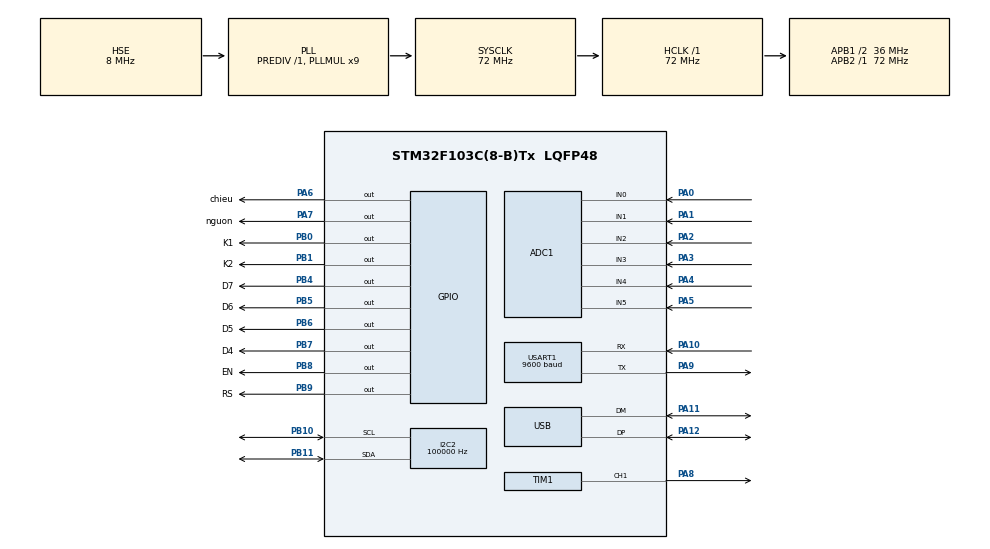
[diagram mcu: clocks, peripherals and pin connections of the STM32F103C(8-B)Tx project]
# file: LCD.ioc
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ADC1.Channel-0\#ChannelRegularConversion=ADC_CHANNEL_0
ADC1.Channel-1\#ChannelRegularConversion=ADC_CHANNEL_1
ADC1.Channel-2\#ChannelRegularConversion=ADC_CHANNEL_2
ADC1.Channel-3\#ChannelRegularConversion=ADC_CHANNEL_3
ADC1.Channel-4\#ChannelRegularConversion=ADC_CHANNEL_4
ADC1.Channel-5\#ChannelRegularConversion=ADC_CHANNEL_5
ADC1.ContinuousConvMode=ENABLE
ADC1.InjNumberOfConversion=0
ADC1.NbrOfConversion=6
ADC1.NbrOfConversionFlag=1
ADC1.Rank-0\#ChannelRegularConversion=1
ADC1.Rank-1\#ChannelRegularConversion=2
ADC1.Rank-2\#ChannelRegularConversion=3
ADC1.Rank-3\#ChannelRegularConversion=4
ADC1.Rank-4\#ChannelRegularConversion=5
ADC1.Rank-5\#ChannelRegularConversion=6
ADC1.SamplingTime-0\#ChannelRegularConversion=ADC_SAMPLETIME_1CYCLE_5
ADC1.SamplingTime-1\#ChannelRegularConversion=ADC_SAMPLETIME_1CYCLE_5
ADC1.SamplingTime-2\#ChannelRegularConversion=ADC_SAMPLETIME_1CYCLE_5
ADC1.SamplingTime-3\#ChannelRegularConversion=ADC_SAMPLETIME_1CYCLE_5
ADC1.SamplingTime-4\#ChannelRegularConversion=ADC_SAMPLETIME_1CYCLE_5
ADC1.SamplingTime-5\#ChannelRegularConversion=ADC_SAMPLETIME_1CYCLE_5
ADC1.master=1
Dma.ADC1.0.Direction=DMA_PERIPH_TO_MEMORY
Dma.ADC1.0.Instance=DMA1_Channel1
Dma.ADC1.0.MemDataAlignment=DMA_MDATAALIGN_HALFWORD
Dma.ADC1.0.MemInc=DMA_MINC_ENABLE
Dma.ADC1.0.Mode=DMA_CIRCULAR
Dma.ADC1.0.PeriphDataAlignment=DMA_PDATAALIGN_HALFWORD
Dma.ADC1.0.PeriphInc=DMA_PINC_DISABLE
Dma.ADC1.0.Priority=DMA_PRIORITY_HIGH
Dma.Request0=ADC1
Dma.Request1=USART1_RX
Dma.USART1_RX.1.Direction=DMA_PERIPH_TO_MEMORY
Dma.USART1_RX.1.Instance=DMA1_Channel5
Dma.USART1_RX.1.MemDataAlignment=DMA_MDATAALIGN_BYTE
Dma.USART1_RX.1.MemInc=DMA_MINC_ENABLE
Dma.USART1_RX.1.Mode=DMA_CIRCULAR
Dma.USART1_RX.1.PeriphDataAlignment=DMA_PDATAALIGN_BYTE
Dma.USART1_RX.1.PeriphInc=DMA_PINC_DISABLE
Dma.USART1_RX.1.Priority=DMA_PRIORITY_HIGH
I2C2.ClockSpeed=100000
I2C2.I2C_Mode=I2C_Fast
Mcu.Family=STM32F1
Mcu.Name=STM32F103C(8-B)Tx
Mcu.Package=LQFP48
NVIC.DMA1_Channel1_IRQn=true\:0\:0\:false\:false\:true\:false\:true
NVIC.DMA1_Channel5_IRQn=true\:0\:0\:false\:false\:true\:false\:true
NVIC.PriorityGroup=NVIC_PRIORITYGROUP_4
NVIC.USART1_IRQn=true\:0\:0\:false\:false\:true\:true\:true
NVIC.USB_LP_CAN1_RX0_IRQn=true\:0\:0\:false\:false\:true\:false\:true
PA0-WKUP.Signal=ADCx_IN0
PA1.Signal=ADCx_IN1
PA10.Mode=Asynchronous
PA10.Signal=USART1_RX
PA11.Mode=Device
PA11.Signal=USB_DM
PA12.Mode=Device
PA12.Signal=USB_DP
PA13.Mode=Serial_Wire
PA13.Signal=SYS_JTMS-SWDIO
PA14.Mode=Serial_Wire
PA14.Signal=SYS_JTCK-SWCLK
PA2.Signal=ADCx_IN2
PA3.Signal=ADCx_IN3
PA4.Signal=ADCx_IN4
PA5.Signal=ADCx_IN5
PA6.GPIO_Label=chieu
PA6.Signal=GPIO_Output
PA7.GPIO_Label=nguon
PA7.Signal=GPIO_Output
PA8.Signal=S_TIM1_CH1
PA9.Mode=Asynchronous
PA9.Signal=USART1_TX
PB0.GPIO_Label=K1
PB0.Signal=GPIO_Output
PB1.GPIO_Label=K2
PB1.Signal=GPIO_Output
PB10.Mode=I2C
PB10.Signal=I2C2_SCL
PB11.Mode=I2C
PB11.Signal=I2C2_SDA
PB4.GPIO_Label=D7
PB4.Signal=GPIO_Output
PB5.GPIO_Label=D6
PB5.Signal=GPIO_Output
PB6.GPIO_Label=D5
PB6.Signal=GPIO_Output
PB7.GPIO_Label=D4
PB7.Signal=GPIO_Output
PB8.GPIO_Label=EN
PB8.Signal=GPIO_Output
PB9.GPIO_Label=RS
PB9.Signal=GPIO_Output
PC14-OSC32_IN.Mode=LSE-External-Oscillator
PC14-OSC32_IN.Signal=RCC_OSC32_IN
PC15-OSC32_OUT.Mode=LSE-External-Oscillator
PC15-OSC32_OUT.Signal=RCC_OSC32_OUT
PD0-OSC_IN.Mode=HSE-External-Oscillator
PD0-OSC_IN.Signal=RCC_OSC_IN
PD1-OSC_OUT.Mode=HSE-External-Oscillator
PD1-OSC_OUT.Signal=RCC_OSC_OUT
ProjectManager.HeapSize=0x200
ProjectManager.StackSize=0x400
ProjectManager.TargetToolchain=MDK-ARM V5
RCC.ADCPresc=RCC_ADCPCLK2_DIV6
RCC.AHBFreq_Value=72000000
RCC.APB1CLKDivider=RCC_HCLK_DIV2
RCC.APB1Freq_Value=36000000
RCC.APB1TimFreq_Value=72000000
RCC.APB2Freq_Value=72000000
RCC.APB2TimFreq_Value=72000000
RCC.HCLKFreq_Value=72000000
RCC.PLLMUL=RCC_PLL_MUL9
RCC.PLLSourceVirtual=RCC_PLLSOURCE_HSE
RCC.RTCClockSelection=RCC_RTCCLKSOURCE_LSE
RCC.SYSCLKFreq_VALUE=72000000
RCC.SYSCLKSource=RCC_SYSCLKSOURCE_PLLCLK
RCC.USBFreq_Value=48000000
RCC.USBPrescaler=RCC_USBCLKSOURCE_PLL_DIV1_5
RTC.Date=1
RTC.Format=RTC_FORMAT_BIN
RTC.Hours=12
RTC.Minutes=0
RTC.Month=RTC_MONTH_JANUARY
RTC.WeekDay=RTC_WEEKDAY_FRIDAY
RTC.Year=21
SH.ADCx_IN0.0=ADC1_IN0,IN0
SH.ADCx_IN1.0=ADC1_IN1,IN1
SH.ADCx_IN2.0=ADC1_IN2,IN2
SH.ADCx_IN3.0=ADC1_IN3,IN3
SH.ADCx_IN4.0=ADC1_IN4,IN4
SH.ADCx_IN5.0=ADC1_IN5,IN5
SH.S_TIM1_CH1.0=TIM1_CH1,PWM Generation1 CH1
TIM1.Channel-PWM\ Generation1\ CH1=TIM_CHANNEL_1
TIM1.CounterMode=TIM_COUNTERMODE_UP
TIM1.Period=7199
TIM1.Prescaler=9999
USART1.BaudRate=9600
USART1.VirtualMode=VM_ASYNC
USB_DEVICE.CLASS_NAME_FS=CDC
USB_DEVICE.VirtualMode=Cdc
USB_DEVICE.VirtualModeFS=Cdc_FS
VP_RTC_VS_RTC_Activate.Mode=RTC_Enabled
VP_RTC_VS_RTC_Calendar.Mode=RTC_Calendar
VP_TIM1_VS_ClockSourceINT.Mode=Internal
VP_USB_DEVICE_VS_USB_DEVICE_CDC_FS.Mode=CDC_FS
board=custom

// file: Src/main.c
/* USER CODE BEGIN Header */
/**
  ******************************************************************************
  * @file           : main.c
  * @brief          : Main program body
  ******************************************************************************
  * @attention
  *
  * <h2><center>&copy; Copyright (c) 2020 STMicroelectronics.
  * All rights reserved.</center></h2>
  *
  * This software component is licensed by ST under Ultimate Liberty license
  * SLA0044, the "License"; You may not use this file except in compliance with
  * the License. You may obtain a copy of the License at:
  *                             www.st.com/SLA0044
  *
  ******************************************************************************
  */
/* USER CODE END Header */

#include "main.h"
#include "usb_device.h"

ADC_HandleTypeDef hadc1;
DMA_HandleTypeDef hdma_adc1;

extern I2C_HandleTypeDef hi2c2;

RTC_HandleTypeDef hrtc;

TIM_HandleTypeDef htim1;

UART_HandleTypeDef huart1;
DMA_HandleTypeDef hdma_usart1_rx;

void SystemClock_Config(void);
static void MX_GPIO_Init(void);
static void MX_DMA_Init(void);
static void MX_TIM1_Init(void);
static void MX_RTC_Init(void);
static void MX_ADC1_Init(void);
static void MX_I2C2_Init(void);
static void MX_USART1_UART_Init(void);

/* USER CODE BEGIN 0 */
#include "usbd_cdc_if.h"//giao tiep usb
#include <stdio.h>
#include <math.h>
#include <string.h>
#include <stdlib.h>
#include <Kalman.h>
#include "lcd16x2.h"
#include "goc_pin.h"
#include "mpu6050_kalman.h"
#include "mppt.h"
extern char ReceivedData[100];//mang du lieu nhan USB
extern char SendData[100];//mang du lieu gui
extern uint8_t Rxcount;
extern uint32_t dataSize;
extern uint8_t check;//kiem tra nhan data USB
extern uint32_t time;

char receiveuart[100]="",senduart[100]="";//giao tiep uart
uint8_t rxdata='\0',uartbuf[100],rx=0,tx=1,uartcount=0,uartsize=0;

#define K1_Port GPIOB
#define K2_Port GPIOB

#define chieu_Port GPIOA
#define nguon_Port GPIOA
char data[100];//mang du lieu xuat lcd

RTC_TimeTypeDef sTime;
RTC_DateTypeDef DateToUpdate;
uint8_t sec;//bien lay thoi gian thuc
uint8_t min;
uint8_t hour;
uint8_t wday;
uint8_t date;
uint8_t month;
uint8_t year;
//uint16_t c1,c2,c;
uint8_t shour=12,smin=12,ssec=0,sdate=1,smonth=1,syear=21;//bien set thoi gian

float VD=21.033;//vi do
float KD=105.85;//kinh do
extern int n;//so thu tu ngay trong nam
extern int PALT,PATT,TALT,TATT;//PALT, PATT goc cuc ly thuyet,thuc te

//chuong trinh doc cam bien mpu6050
extern Kalman_t kalmanX;//cau truc kalman
extern Kalman_t kalmanY;
extern double accX, accY, accZ;
extern double gyroX, gyroY, gyroZ;
extern int16_t tempRaw;

extern double gyroXangle, gyroYangle; // Angle calculate using the gyro only
extern double compAngleX, compAngleY; // Calculated angle using a complementary filter
extern double kalAngleX, kalAngleY; // Calculated angle using a Kalman filter

// dieu khien xy lanh
int goc_max=165,goc_min=15,tmax=17,tmin=7,PA=90,PAS=90;
//goc_max,goc_min gioi han hanh trinh
//tmax, tmin gioi han thoi gian lam viec
//PA goc cuc can dieu khien PAS goc cuc dat che do tay
float deltaT=1.0,deltaA=3.0,t=-1.0;
//t thoi gian khoi tao ban dau
// deltaT(h) khoang thoi gian dat lai goc PA
// deltaA sai lech goc cho phep
uint8_t mode=0;//che do hoat dong xy lanh
uint8_t m=0;// m=0 che do dieu khien tu dong ,m=1 che do dieu khien tay
void dk_xl()
{
  PATT=kalAngleY+90.0;
  if(m==1) {
		 PA=PAS;
			if(PATT<PA) //quay thuan
		 {
				HAL_GPIO_WritePin(nguon_GPIO_Port,nguon_Pin,1);
				HAL_GPIO_WritePin(chieu_GPIO_Port,chieu_Pin,0);
				mode=1;
		 }
		else if(PATT>(PA+deltaA)) //quay nguoc
		 {
				HAL_GPIO_WritePin(nguon_GPIO_Port,nguon_Pin,1);
				HAL_GPIO_WritePin(chieu_GPIO_Port,chieu_Pin,1);
				mode=2;
		 }
		else if((PATT>=PA)&&(PATT<=(PA+deltaA)))
		 {
				HAL_GPIO_WritePin(nguon_GPIO_Port,nguon_Pin,0);
				HAL_GPIO_WritePin(chieu_GPIO_Port,chieu_Pin,0);
				mode=0;
		 }
		 else {}
	}
	if(m==0){
	 if (((hour+min/60.0)>=tmin)&&((hour+min/60.0)<=tmax))
	 {
			if(fabs(hour+min/60.0-t)>=deltaT)
			{ // dat lai goc quay sau thoi gian deltaT
			goc_pin(year,month,date,hour,min,sec,VD,KD);
			PA=PALT; // dat goc ly thuyet
			t=hour+min/60.0;
			}
			if(PA<goc_min) PA=goc_min;//gioi han goc dat PA
			if(PA>goc_max) PA=goc_max;
		if(PATT<PA) //quay thuan
		 {
				HAL_GPIO_WritePin(nguon_GPIO_Port,nguon_Pin,1);
				HAL_GPIO_WritePin(chieu_GPIO_Port,chieu_Pin,0);
				mode=1;
		 }
		else if(PATT>(PA+deltaA)) //quay nguoc
		 {
				HAL_GPIO_WritePin(nguon_GPIO_Port,nguon_Pin,1);
				HAL_GPIO_WritePin(chieu_GPIO_Port,chieu_Pin,1);
				mode=2;
		 }
		else if((PATT>=PA)&&(PATT<=(PA+deltaA)))//dung
		 {
				HAL_GPIO_WritePin(nguon_GPIO_Port,nguon_Pin,0);
				HAL_GPIO_WritePin(chieu_GPIO_Port,chieu_Pin,0);
				mode=0;
		 }
		 else  {}
	  }
  else if (((hour+min/60.0)>tmax)&&((hour+min/60.0)<=tmax+0.25))
		{
		if(PATT>goc_min){
				HAL_GPIO_WritePin(nguon_GPIO_Port,nguon_Pin,1);
				HAL_GPIO_WritePin(chieu_GPIO_Port,chieu_Pin,1);
				mode=3;
				}
		else{
				HAL_GPIO_WritePin(nguon_GPIO_Port,nguon_Pin,0);
				HAL_GPIO_WritePin(chieu_GPIO_Port,chieu_Pin,0);
				mode=4;
			 }
		}
	else
    {
				HAL_GPIO_WritePin(nguon_GPIO_Port,nguon_Pin,0);
				HAL_GPIO_WritePin(chieu_GPIO_Port,chieu_Pin,0);
			  mode=4;
	  }
	}
}

//do dien ap dong dien
uint16_t adc_data[6];//bien luu gia tri adc
float V_PV,I_PV,V_AQ,I_AQ,I_T;//bien do dong ap
void do_dong_ap()
{
	float adc0=0,adc1=0,adc2=0,adc3=0,adc4=0;
	for (int i=0;i<100;i++) adc0=adc0+adc_data[0];
	adc0=adc0/100.0;
	for (int i=0;i<100;i++) adc1=adc1+adc_data[1];
	adc1=adc1/100.0;
	for (int i=0;i<100;i++) adc2=adc2+adc_data[2];
	adc2=adc2/100.0;
	for (int i=0;i<100;i++) adc3=adc3+adc_data[3];
	adc3=adc3/100.0;
	for (int i=0;i<100;i++) adc4=adc4+adc_data[4];
	adc4=adc4/100.0;
	V_PV=(0.0000003*adc0*adc0+ 0.0003*adc0 + 0.0129)*(100+5.6)/5.6+0.5;
//	I_PV=(adc1*(3.33/4096.0)-2.4)/0.1;
//	V_AQ=(0.0000003*adc2*adc2+ 0.0003*adc2 + 0.0129)*(100+5.6)/5.6-3;
//	I_AQ=(adc3*(3.33/4096.0)-2.4)/0.1;
//	I_T=(adc4*(3.33/4096.0)-2.4)/0.1;

//	V_PV=(-0.000000009*adc0*adc0+ 0.0009*adc0 - 0.0335)*(100+5.6)/5.6;
	I_PV=(-(0.000000002*adc1*adc1+ 0.0008*adc1 + 0.0046)+2.445)/0.1+2;
	V_AQ=(0.000000002*adc2*adc2+ 0.0008*adc2 + 0.0046)*(100+5.6)/5.6-3;
	I_AQ=(-(0.000000002*adc3*adc3+ 0.0008*adc3 + 0.0046)+2.445)/0.1+1;
	I_T=(-(0.000000002*adc4*adc4+ 0.0008*adc4 + 0.0046)+2.445)/0.1+0.1;

//	V_PV=adc_data[0]*2.7/(4095.0);
//	I_PV=(adc_data[1]*(2.7/4095.0)-2.5)/0.1;
//	V_AQ=adc_data[2]*3.4/(4095.0);
//	I_AQ=(adc_data[3]*(3.4/4095.0)-2.5)/0.1;
//	I_T=(adc_data[4]*(3.4/4095.0)-2.5)/0.1;
}

//hien thi LCD
int32_t timedisp1=-2000,timedisp2=-2000;//tg hien thi
void do_tinh_hien_thi()
{
	  HAL_RTC_GetTime(&hrtc, &sTime, RTC_FORMAT_BIN);
    HAL_RTC_GetDate(&hrtc, &DateToUpdate, RTC_FORMAT_BIN);
		uint32_t dateToStore;
		memcpy(&dateToStore,&DateToUpdate,4);
		BKP->DR2 = dateToStore >> 16;
		BKP->DR3 = dateToStore & 0xffff;
    sec=sTime.Seconds;
    min=sTime.Minutes;
    hour=sTime.Hours;
    wday=DateToUpdate.WeekDay;
    date=DateToUpdate.Date;
    month=DateToUpdate.Month;
    year=DateToUpdate.Year;
	if((double)(HAL_GetTick()-timedisp1)/1000.0>=2){//hien thi sau 1s
	  goc_pin(year,month,date,hour,min,sec,VD,KD);
    PATT=kalAngleY+90;
		LCD_Init();
    LCD_Gotoxy(0,0);
		sprintf(data,"%0.2d:%0.2d|%0.3d|%0.3d      ",hour,min,PALT,PATT);
		LCD_Puts(data);
		LCD_Gotoxy(0,1);
		sprintf(data,"%0.2d/%0.2d/%0.2d|%0.3d       ",date,month,year,n);
		LCD_Puts(data);
		if(m==0){LCD_Gotoxy(14,0);LCD_Puts("M0");}//auto
		if(m==1){LCD_Gotoxy(14,0);LCD_Puts("M1");}//manual
		if(mode==0){LCD_Gotoxy(13,1);LCD_Puts("XL0");}//dung
		if(mode==1){LCD_Gotoxy(13,1);LCD_Puts("XL1");}//thuan
		if(mode==2){LCD_Gotoxy(13,1);LCD_Puts("XL2");}//nguoc
		if(mode==3){LCD_Gotoxy(0,1);LCD_Puts("TIME OUT     XL2");}//chi co mode auto
		if(mode==4){LCD_Gotoxy(0,1);LCD_Puts("TIME OUT     XL0");}
		timedisp1=HAL_GetTick();
		}
	if(((double)(HAL_GetTick()-timedisp1)/1000.0>=1)&&(double)(HAL_GetTick()-timedisp2)/1000.0>=2){
		do_dong_ap();
		LCD_Clear();
		sprintf(data,"%2.2f %2.2f    " ,V_PV,V_AQ);
		LCD_Gotoxy(0,0);
		LCD_Puts(data);
		sprintf(data,"%2.1f %2.1f %2.1f       " ,I_PV,I_AQ,I_T);
		LCD_Gotoxy(0,1);
		LCD_Puts(data);
		timedisp2=HAL_GetTick();
	}
}

//dieu khien sac
extern float duty;
//float V_PVmax=47.8,V_AQmax=60,V_AQon=50.4,V_AQoff=48,I_AQmax=6,V_AQfloat=56.4,I_Tmax=6;
float V_PVmax=22.84,V_AQmax=30,V_AQon=25.2,V_AQoff=24,I_AQmax=5,V_AQfloat=28.2,I_Tmax=5;
int32_t timewait=-5000;
void dk_sac()
{
	if((double)(HAL_GetTick()-timewait)/1000.0>=5)
	{
		timewait=-5000;
		do_dong_ap();
		if((V_PV<V_AQ)&&(V_PV<V_PVmax))
		{
			HAL_GPIO_WritePin(K1_GPIO_Port,K1_Pin,1);//noi PV
			if((V_AQ<V_AQmax)&&(I_AQ<I_AQmax))
			{
				MPPT_INC(V_PV,I_PV);
				//MPPT_PO(V_PV,I_PV);
				//__HAL_TIM_SET_COMPARE(&htim1,TIM_CHANNEL_1,MPPT_INC(V_PV,I_PV)*1439);
			}
			if(V_AQ==V_AQfloat)
			{
				//duy tri duty
			}
		}
		if((V_PV>V_PVmax)||(I_AQ>I_AQmax))
		{
			HAL_GPIO_WritePin(K1_GPIO_Port,K1_Pin,0);//ngat PV
			timewait=HAL_GetTick();
		}
		if(V_AQ>V_AQon)
		{
			HAL_GPIO_WritePin(K2_GPIO_Port,K2_Pin,1);//noi tai
		}
		if((V_AQ<V_AQoff)||(I_T>I_Tmax))
		{
			HAL_GPIO_WritePin(K2_GPIO_Port,K2_Pin,0);//ngat tai
			timewait=HAL_GetTick();
		}
 }
}

//cat_chuoi
char  **cat_chuoi(char*s1,char*s2)
{
		int i=0;
		char **s3;//=(char **)malloc(sizeof(char));
		s3[i] = strtok(s1,s2);
		while(s3[i] != NULL)
		{
			i++;
			//s3=(char **)realloc(s3,sizeof(char)*(i+1));
			s3[i] = strtok(NULL, s2);
		}
		return s3;
		//free(s3);
}

//giam sat SCADA
uint8_t p=0,g=0;
char*idgate="g0";
char*idnode="n0";
void SCADA(char*idgate,char*idnode)
{
    if(check == 1) //neu co du lieu truyen den
		{
			 CDC_Transmit_FS((uint8_t *)ReceivedData, strlen(ReceivedData));//gui du lieu vua nhan
			 char **str;//=(char **)calloc(1000,sizeof(char));
			 str=cat_chuoi(ReceivedData,"|");//cat chuoi du lieu luu mang str=[idgate,idnode,action,data]
			if((!strcmp(str[0],idgate))&&(!strcmp(str[1],idnode)))
			{
				 if(!strcmp(str[2],"0"))//cai dat thoi gian
					 {
						 shour=atoi(str[3]);
						 smin=atoi(str[4]);
						 ssec=atoi(str[5]);
						 sdate=atoi(str[6]);
						 smonth=atoi(str[7]);
						 syear=atoi(str[8]);

						sTime.Seconds=ssec;
						sTime.Minutes=smin;
						sTime.Hours=shour;
						//DateToUpdate.WeekDay=2;
						DateToUpdate.Date=sdate;
						DateToUpdate.Month=smonth;
						DateToUpdate.Year=syear;
						HAL_RTC_SetTime(&hrtc, &sTime, RTC_FORMAT_BIN);
						HAL_RTC_SetDate(&hrtc, &DateToUpdate, RTC_FORMAT_BIN);
					 }
				 else if(!strcmp(str[2],"1"))//cai dat vi tri
					 {
						 VD=(float) atof(str[3]);
						 KD=(float) atof(str[4]);
						 sprintf(data,"% 3.3f-%3.3f   " ,VD,KD);
						 LCD_Gotoxy(0,1);
						 LCD_Puts(data);
						 HAL_Delay(100);
					 }
				 else if(!strcmp(str[2],"2"))//thiet lap che do
					 {
						 t=-1.0;
						 m=atoi(str[3]);
						 PAS=(float) atof(str[4]);
					 }
				 else if(!strcmp(str[2],"4"))//phan hoi gate
					 {
						 p=atoi(str[3]);
					 }
				 else if(!strcmp(str[2],"3"))//gui data
					 {
						 g=atoi(str[3]);
						 sprintf(SendData,"%s|%s|%s|%.2f|%.2f|%.2f|%0.2f|%0.2f|%0.0f|\n\r" ,idgate,idnode,"3",V_PV,I_PV,V_AQ,I_AQ,I_T,kalAngleY+90.0);
						 CDC_Transmit_FS((uint8_t *)SendData, strlen(SendData));
						 HAL_UART_Transmit_IT(&huart1,(uint8_t*)SendData,strlen(SendData));
					 }
				else
         {
//					 	 g=atoi(str[3]);
//						 sprintf(SendData,"%s|%s|%s|%.2f|%.2f|%.2f|%0.2f|%0.2f|%d|\n\r" ,str[0],str[1],"3",V_PV,I_PV,V_AQ,I_AQ,I_T,PATT);
//						 CDC_Transmit_FS((uint8_t *)SendData, strlen(SendData));
//						 HAL_UART_Transmit_IT(&huart1,(uint8_t*)SendData,strlen(SendData));
         }
			 }
				 check = 0; //free(str);
		}
    if(rx == 1) //neu co du lieu truyen den
		{
		   //sprintf(receiveuart,"%s\n\r",receiveuart);
			 CDC_Transmit_FS((uint8_t *)receiveuart, strlen(receiveuart));
			 char **str;//=(char **)calloc(1000,sizeof(char));
			 str=cat_chuoi(receiveuart,"|");//cat chuoi du lieu luu mang str=[idgate,idnode,action,data]
			if((!strcmp(str[0],idgate))&&(!strcmp(str[1],idnode)))
			{
				 if(!strcmp(str[2],"0"))//cai dat thoi gian
					 {
						 shour=atoi(str[3]);
						 smin=atoi(str[4]);
						 ssec=atoi(str[5]);
						 sdate=atoi(str[6]);
						 smonth=atoi(str[7]);
						 syear=atoi(str[8]);

						sTime.Seconds=ssec;
						sTime.Minutes=smin;
						sTime.Hours=shour;
						//DateToUpdate.WeekDay=2;
						DateToUpdate.Date=sdate;
						DateToUpdate.Month=smonth;
						DateToUpdate.Year=syear;
						HAL_RTC_SetTime(&hrtc, &sTime, RTC_FORMAT_BIN);
						HAL_RTC_SetDate(&hrtc, &DateToUpdate, RTC_FORMAT_BIN);
					 }
				 else if(!strcmp(str[2],"1"))//cai dat vi tri
					 {
						 VD=(float) atof(str[3]);
						 KD=(float) atof(str[4]);
						 sprintf(data," %3.3f-%3.3f   " ,VD,KD);
						 LCD_Gotoxy(0,1);
						 LCD_Puts(data);
						 HAL_Delay(100);
					 }
				 else if(!strcmp(str[2],"2"))//thiet lap che do
					 {
//						 int mm;
						 t=-1.0;
						 m=atoi(str[3]);
//						 if (mm==1) m=1;
//						 else if (mm==0) m=0;
//						 else {}
						 PAS=(float) atof(str[4]);
					 }
				 else if(!strcmp(str[2],"4"))//phan hoi gate
					 {
						 p=atoi(str[3]);
					 }
				 else if(!strcmp(str[2],"3"))//gui data
					 {
						 g=atoi(str[3]);
						 sprintf(senduart,"%s|%s|%s|%.2f|%.2f|%.2f|%0.2f|%0.2f|%0.0f|\n\r" ,idgate,idnode,"3",V_PV,I_PV,V_AQ,I_AQ,I_T,kalAngleY+90.0);
						 CDC_Transmit_FS((uint8_t *)senduart, strlen(senduart));
						 HAL_UART_Transmit_IT(&huart1,(uint8_t*)senduart,strlen(senduart));
					 }
				else
				{
//						 g=atoi(str[3]);
//						 sprintf(senduart,"%s|%s|%s|%.2f|%.2f|%.2f|%0.2f|%0.2f|%d|\n\r" ,str[0],str[1],"3",V_PV,I_PV,V_AQ,I_AQ,I_T,PATT);
//						 CDC_Transmit_FS((uint8_t *)senduart, strlen(senduart));
//						 HAL_UART_Transmit_IT(&huart1,(uint8_t*)senduart,strlen(senduart));
				}
			 }
			  rx=0;//free(str);
		}
}
//float rate,comprate,gyrrate,aa,bb;
//uint32_t tt;
/* USER CODE END 0 */

int main(void)
{

  /* MCU Configuration--------------------------------------------------------*/

  /* Reset of all peripherals, Initializes the Flash interface and the Systick. */
  HAL_Init();

  /* Configure the system clock */
  SystemClock_Config();

  /* Initialize all configured peripherals */
  MX_GPIO_Init();
  MX_DMA_Init();
  MX_TIM1_Init();
  MX_RTC_Init();
  MX_ADC1_Init();
  MX_I2C2_Init();
  MX_USB_DEVICE_Init();
  MX_USART1_UART_Init();
  /* USER CODE BEGIN 2 */
	HAL_TIM_PWM_Start(&htim1,TIM_CHANNEL_1);
	//HAL_TIM_PWM_Start(&htim2,TIM_CHANNEL_1);
	HAL_ADC_Start_DMA(&hadc1,(uint32_t*)&adc_data,6);
	HAL_UART_Receive_IT(&huart1,&rxdata,1);
  LCD_Init();
	do_dong_ap();
	MPPT_INIT(V_PV,I_PV);
	init_kalman_mpu6050();
  for(int i=0;i<=300;i++){kalman_mpu6050();}
	//HAL_GPIO_WritePin(K1_GPIO_Port,K1_Pin,1);
	//HAL_GPIO_WritePin(K2_GPIO_Port,K2_Pin,1);

  /* USER CODE END 2 */

  /* Infinite loop */
  while (1)
  {

    /* USER CODE BEGIN 3 */
    if(fabs(kalAngleY+90.0-PATT)>=20)
		{
			MX_I2C2_Init();
			init_kalman_mpu6050();
			//for(int i=0;i<=300;i++){kalman_mpu6050();}
		}
		kalman_mpu6050();
//  rate = gyroY / 131.0; // Convert to deg/s
//	gyrrate =(gyroYangle-aa)/(HAL_GetTick()-tt)*1000;
//	comprate =(compAngleY -bb)/(HAL_GetTick()-tt)*1000;
//	aa=gyroYangle;bb=compAngleY;tt=HAL_GetTick();

		do_tinh_hien_thi();
		dk_xl();
		dk_sac();
	  __HAL_TIM_SET_COMPARE(&htim1,TIM_CHANNEL_1,duty*1439);
		//__HAL_TIM_SET_COMPARE(&htim2,TIM_CHANNEL_1,3600);
		//MPPT(V_PV,I_PV);
		SCADA(idgate,idnode);
  }
  /* USER CODE END 3 */
}

void SystemClock_Config(void)
{
  RCC_OscInitTypeDef RCC_OscInitStruct = {0};
  RCC_ClkInitTypeDef RCC_ClkInitStruct = {0};
  RCC_PeriphCLKInitTypeDef PeriphClkInit = {0};

  /** Initializes the CPU, AHB and APB busses clocks
  */
  RCC_OscInitStruct.OscillatorType = RCC_OSCILLATORTYPE_HSE|RCC_OSCILLATORTYPE_LSE;
  RCC_OscInitStruct.HSEState = RCC_HSE_ON;
  RCC_OscInitStruct.HSEPredivValue = RCC_HSE_PREDIV_DIV1;
  RCC_OscInitStruct.LSEState = RCC_LSE_ON;
  RCC_OscInitStruct.HSIState = RCC_HSI_ON;
  RCC_OscInitStruct.PLL.PLLState = RCC_PLL_ON;
  RCC_OscInitStruct.PLL.PLLSource = RCC_PLLSOURCE_HSE;
  RCC_OscInitStruct.PLL.PLLMUL = RCC_PLL_MUL9;
  if (HAL_RCC_OscConfig(&RCC_OscInitStruct) != HAL_OK)
  {
    Error_Handler();
  }
  /** Initializes the CPU, AHB and APB busses clocks
  */
  RCC_ClkInitStruct.ClockType = RCC_CLOCKTYPE_HCLK|RCC_CLOCKTYPE_SYSCLK
                              |RCC_CLOCKTYPE_PCLK1|RCC_CLOCKTYPE_PCLK2;
  RCC_ClkInitStruct.SYSCLKSource = RCC_SYSCLKSOURCE_PLLCLK;
  RCC_ClkInitStruct.AHBCLKDivider = RCC_SYSCLK_DIV1;
  RCC_ClkInitStruct.APB1CLKDivider = RCC_HCLK_DIV2;
  RCC_ClkInitStruct.APB2CLKDivider = RCC_HCLK_DIV1;

  if (HAL_RCC_ClockConfig(&RCC_ClkInitStruct, FLASH_LATENCY_2) != HAL_OK)
  {
    Error_Handler();
  }
  PeriphClkInit.PeriphClockSelection = RCC_PERIPHCLK_RTC|RCC_PERIPHCLK_ADC
                              |RCC_PERIPHCLK_USB;
  PeriphClkInit.RTCClockSelection = RCC_RTCCLKSOURCE_LSE;
  PeriphClkInit.AdcClockSelection = RCC_ADCPCLK2_DIV6;
  PeriphClkInit.UsbClockSelection = RCC_USBCLKSOURCE_PLL_DIV1_5;
  if (HAL_RCCEx_PeriphCLKConfig(&PeriphClkInit) != HAL_OK)
  {
    Error_Handler();
  }
}

static void MX_ADC1_Init(void)
{

  ADC_ChannelConfTypeDef sConfig = {0};

  /** Common config
  */
  hadc1.Instance = ADC1;
  hadc1.Init.ScanConvMode = ADC_SCAN_ENABLE;
  hadc1.Init.ContinuousConvMode = ENABLE;
  hadc1.Init.DiscontinuousConvMode = DISABLE;
  hadc1.Init.ExternalTrigConv = ADC_SOFTWARE_START;
  hadc1.Init.DataAlign = ADC_DATAALIGN_RIGHT;
  hadc1.Init.NbrOfConversion = 6;
  if (HAL_ADC_Init(&hadc1) != HAL_OK)
  {
    Error_Handler();
  }
  /** Configure Regular Channel
  */
  sConfig.Channel = ADC_CHANNEL_0;
  sConfig.Rank = ADC_REGULAR_RANK_1;
  sConfig.SamplingTime = ADC_SAMPLETIME_1CYCLE_5;
  if (HAL_ADC_ConfigChannel(&hadc1, &sConfig) != HAL_OK)
  {
    Error_Handler();
  }
  /** Configure Regular Channel
  */
  sConfig.Channel = ADC_CHANNEL_1;
  sConfig.Rank = ADC_REGULAR_RANK_2;
  if (HAL_ADC_ConfigChannel(&hadc1, &sConfig) != HAL_OK)
  {
    Error_Handler();
  }
  /** Configure Regular Channel
  */
  sConfig.Channel = ADC_CHANNEL_2;
  sConfig.Rank = ADC_REGULAR_RANK_3;
  if (HAL_ADC_ConfigChannel(&hadc1, &sConfig) != HAL_OK)
  {
    Error_Handler();
  }
  /** Configure Regular Channel
  */
  sConfig.Channel = ADC_CHANNEL_3;
  sConfig.Rank = ADC_REGULAR_RANK_4;
  if (HAL_ADC_ConfigChannel(&hadc1, &sConfig) != HAL_OK)
  {
    Error_Handler();
  }
  /** Configure Regular Channel
  */
  sConfig.Channel = ADC_CHANNEL_4;
  sConfig.Rank = ADC_REGULAR_RANK_5;
  if (HAL_ADC_ConfigChannel(&hadc1, &sConfig) != HAL_OK)
  {
    Error_Handler();
  }
  /** Configure Regular Channel
  */
  sConfig.Channel = ADC_CHANNEL_5;
  sConfig.Rank = ADC_REGULAR_RANK_6;
  if (HAL_ADC_ConfigChannel(&hadc1, &sConfig) != HAL_OK)
  {
    Error_Handler();
  }

}

static void MX_I2C2_Init(void)
{

  hi2c2.Instance = I2C2;
  hi2c2.Init.ClockSpeed = 100000;
  hi2c2.Init.DutyCycle = I2C_DUTYCYCLE_2;
  hi2c2.Init.OwnAddress1 = 0;
  hi2c2.Init.AddressingMode = I2C_ADDRESSINGMODE_7BIT;
  hi2c2.Init.DualAddressMode = I2C_DUALADDRESS_DISABLE;
  hi2c2.Init.OwnAddress2 = 0;
  hi2c2.Init.GeneralCallMode = I2C_GENERALCALL_DISABLE;
  hi2c2.Init.NoStretchMode = I2C_NOSTRETCH_DISABLE;
  if (HAL_I2C_Init(&hi2c2) != HAL_OK)
  {
    Error_Handler();
  }

}

static void MX_RTC_Init(void)
{

  RTC_TimeTypeDef sTime = {0};
  RTC_DateTypeDef DateToUpdate = {0};

  /** Initialize RTC Only
  */
  hrtc.Instance = RTC;
  hrtc.Init.AsynchPrediv = RTC_AUTO_1_SECOND;
  hrtc.Init.OutPut = RTC_OUTPUTSOURCE_ALARM;
  if (HAL_RTC_Init(&hrtc) != HAL_OK)
  {
    Error_Handler();
  }

  /* USER CODE BEGIN Check_RTC_BKUP */
	if( HAL_RTCEx_BKUPRead(&hrtc, RTC_BKP_DR1) !=0x32F2)
{
  /* USER CODE END Check_RTC_BKUP */

  /** Initialize RTC and set the Time and Date
  */
  sTime.Hours = 12;
  sTime.Minutes = 0;
  sTime.Seconds = 0;

  if (HAL_RTC_SetTime(&hrtc, &sTime, RTC_FORMAT_BIN) != HAL_OK)
  {
    Error_Handler();
  }
  DateToUpdate.WeekDay = RTC_WEEKDAY_FRIDAY;
  DateToUpdate.Month = RTC_MONTH_JANUARY;
  DateToUpdate.Date = 1;
  DateToUpdate.Year = 21;

  if (HAL_RTC_SetDate(&hrtc, &DateToUpdate, RTC_FORMAT_BIN) != HAL_OK)
  {
    Error_Handler();
  }
  /* USER CODE BEGIN RTC_Init 2 */
  HAL_RTCEx_BKUPWrite(&hrtc, RTC_BKP_DR1, 0x32F2);
}

else
{
 uint32_t dateMem;
 dateMem = BKP->DR3;
 dateMem |= BKP->DR2 << 16;
 memcpy(&DateToUpdate,&dateMem,sizeof(uint32_t));
 if (HAL_RTC_SetDate(&hrtc, &DateToUpdate, RTC_FORMAT_BIN) != HAL_OK)
 {
 Error_Handler();
 }
 HAL_RTC_GetTime(&hrtc, &sTime, RTC_FORMAT_BIN);
}
  /* USER CODE END RTC_Init 2 */

}

static void MX_TIM1_Init(void)
{

  TIM_ClockConfigTypeDef sClockSourceConfig = {0};
  TIM_MasterConfigTypeDef sMasterConfig = {0};
  TIM_OC_InitTypeDef sConfigOC = {0};
  TIM_BreakDeadTimeConfigTypeDef sBreakDeadTimeConfig = {0};

  htim1.Instance = TIM1;
  htim1.Init.Prescaler = 0;
  htim1.Init.CounterMode = TIM_COUNTERMODE_UP;
  htim1.Init.Period = 1439;
  htim1.Init.ClockDivision = TIM_CLOCKDIVISION_DIV1;
  htim1.Init.RepetitionCounter = 0;
  htim1.Init.AutoReloadPreload = TIM_AUTORELOAD_PRELOAD_DISABLE;
  if (HAL_TIM_Base_Init(&htim1) != HAL_OK)
  {
    Error_Handler();
  }
  sClockSourceConfig.ClockSource = TIM_CLOCKSOURCE_INTERNAL;
  if (HAL_TIM_ConfigClockSource(&htim1, &sClockSourceConfig) != HAL_OK)
  {
    Error_Handler();
  }
  if (HAL_TIM_PWM_Init(&htim1) != HAL_OK)
  {
    Error_Handler();
  }
  sMasterConfig.MasterOutputTrigger = TIM_TRGO_RESET;
  sMasterConfig.MasterSlaveMode = TIM_MASTERSLAVEMODE_DISABLE;
  if (HAL_TIMEx_MasterConfigSynchronization(&htim1, &sMasterConfig) != HAL_OK)
  {
    Error_Handler();
  }
  sConfigOC.OCMode = TIM_OCMODE_PWM1;
  sConfigOC.Pulse = 0;
  sConfigOC.OCPolarity = TIM_OCPOLARITY_HIGH;
  sConfigOC.OCNPolarity = TIM_OCNPOLARITY_HIGH;
  sConfigOC.OCFastMode = TIM_OCFAST_DISABLE;
  sConfigOC.OCIdleState = TIM_OCIDLESTATE_RESET;
  sConfigOC.OCNIdleState = TIM_OCNIDLESTATE_RESET;
  if (HAL_TIM_PWM_ConfigChannel(&htim1, &sConfigOC, TIM_CHANNEL_1) != HAL_OK)
  {
    Error_Handler();
  }
  sBreakDeadTimeConfig.OffStateRunMode = TIM_OSSR_DISABLE;
  sBreakDeadTimeConfig.OffStateIDLEMode = TIM_OSSI_DISABLE;
  sBreakDeadTimeConfig.LockLevel = TIM_LOCKLEVEL_OFF;
  sBreakDeadTimeConfig.DeadTime = 0;
  sBreakDeadTimeConfig.BreakState = TIM_BREAK_DISABLE;
  sBreakDeadTimeConfig.BreakPolarity = TIM_BREAKPOLARITY_HIGH;
  sBreakDeadTimeConfig.AutomaticOutput = TIM_AUTOMATICOUTPUT_DISABLE;
  if (HAL_TIMEx_ConfigBreakDeadTime(&htim1, &sBreakDeadTimeConfig) != HAL_OK)
  {
    Error_Handler();
  }
  HAL_TIM_MspPostInit(&htim1);

}

static void MX_USART1_UART_Init(void)
{

  huart1.Instance = USART1;
  huart1.Init.BaudRate = 9600;
  huart1.Init.WordLength = UART_WORDLENGTH_8B;
  huart1.Init.StopBits = UART_STOPBITS_1;
  huart1.Init.Parity = UART_PARITY_NONE;
  huart1.Init.Mode = UART_MODE_TX_RX;
  huart1.Init.HwFlowCtl = UART_HWCONTROL_NONE;
  huart1.Init.OverSampling = UART_OVERSAMPLING_16;
  if (HAL_UART_Init(&huart1) != HAL_OK)
  {
    Error_Handler();
  }

}

static void MX_DMA_Init(void)
{

  /* DMA controller clock enable */
  __HAL_RCC_DMA1_CLK_ENABLE();

  /* DMA interrupt init */
  /* DMA1_Channel1_IRQn interrupt configuration */
  HAL_NVIC_SetPriority(DMA1_Channel1_IRQn, 0, 0);
  HAL_NVIC_EnableIRQ(DMA1_Channel1_IRQn);
  /* DMA1_Channel5_IRQn interrupt configuration */
  HAL_NVIC_SetPriority(DMA1_Channel5_IRQn, 0, 0);
  HAL_NVIC_EnableIRQ(DMA1_Channel5_IRQn);

}

static void MX_GPIO_Init(void)
{
  GPIO_InitTypeDef GPIO_InitStruct = {0};

  /* GPIO Ports Clock Enable */
  __HAL_RCC_GPIOC_CLK_ENABLE();
  __HAL_RCC_GPIOD_CLK_ENABLE();
  __HAL_RCC_GPIOA_CLK_ENABLE();
  __HAL_RCC_GPIOB_CLK_ENABLE();

  /*Configure GPIO pin Output Level */
  HAL_GPIO_WritePin(GPIOA, chieu_Pin|nguon_Pin, GPIO_PIN_RESET);

  /*Configure GPIO pin Output Level */
  HAL_GPIO_WritePin(GPIOB, K1_Pin|K2_Pin|D7_Pin|D6_Pin
                          |D5_Pin|D4_Pin|EN_Pin|RS_Pin, GPIO_PIN_RESET);

  /*Configure GPIO pin : PC13 */
  GPIO_InitStruct.Pin = GPIO_PIN_13;
  GPIO_InitStruct.Mode = GPIO_MODE_ANALOG;
  HAL_GPIO_Init(GPIOC, &GPIO_InitStruct);

  /*Configure GPIO pins : chieu_Pin nguon_Pin */
  GPIO_InitStruct.Pin = chieu_Pin|nguon_Pin;
  GPIO_InitStruct.Mode = GPIO_MODE_OUTPUT_PP;
  GPIO_InitStruct.Pull = GPIO_NOPULL;
  GPIO_InitStruct.Speed = GPIO_SPEED_FREQ_LOW;
  HAL_GPIO_Init(GPIOA, &GPIO_InitStruct);

  /*Configure GPIO pins : K1_Pin K2_Pin D7_Pin D6_Pin
                           D5_Pin D4_Pin EN_Pin RS_Pin */
  GPIO_InitStruct.Pin = K1_Pin|K2_Pin|D7_Pin|D6_Pin
                          |D5_Pin|D4_Pin|EN_Pin|RS_Pin;
  GPIO_InitStruct.Mode = GPIO_MODE_OUTPUT_PP;
  GPIO_InitStruct.Pull = GPIO_NOPULL;
  GPIO_InitStruct.Speed = GPIO_SPEED_FREQ_LOW;
  HAL_GPIO_Init(GPIOB, &GPIO_InitStruct);

  /*Configure GPIO pins : PB2 PB12 PB13 PB14
                           PB15 PB3 */
  GPIO_InitStruct.Pin = GPIO_PIN_2|GPIO_PIN_12|GPIO_PIN_13|GPIO_PIN_14
                          |GPIO_PIN_15|GPIO_PIN_3;
  GPIO_InitStruct.Mode = GPIO_MODE_ANALOG;
  HAL_GPIO_Init(GPIOB, &GPIO_InitStruct);

  /*Configure GPIO pin : PA15 */
  GPIO_InitStruct.Pin = GPIO_PIN_15;
  GPIO_InitStruct.Mode = GPIO_MODE_ANALOG;
  HAL_GPIO_Init(GPIOA, &GPIO_InitStruct);

}

/* USER CODE BEGIN 4 */
void HAL_UART_RxCpltCallback(UART_HandleTypeDef *huart)
{
	if(huart->Instance==huart1.Instance)
	{
		//if(uartcount==0){for(int i=0;i<=uartsize;i++)buf[i]=0;}
		if(rxdata==13||rxdata==10){
				sprintf(receiveuart,"%s\n\r",uartbuf);
			  //memcpy(receiveuart,uartbuf,sizeof(uint8_t)*(uartcount-1));
				uartsize=uartcount;
				rx=1;uartcount=0;
			}
		else uartbuf[uartcount++]=rxdata;
	}
		HAL_UART_Receive_IT(&huart1,&rxdata,1);
}

void HAL_UART_TxCpltCallback(UART_HandleTypeDef *huart)
{
	tx=1;
}
/* USER CODE END 4 */

void Error_Handler(void)
{
}

/************************ (C) COPYRIGHT STMicroelectronics *****END OF FILE****/
